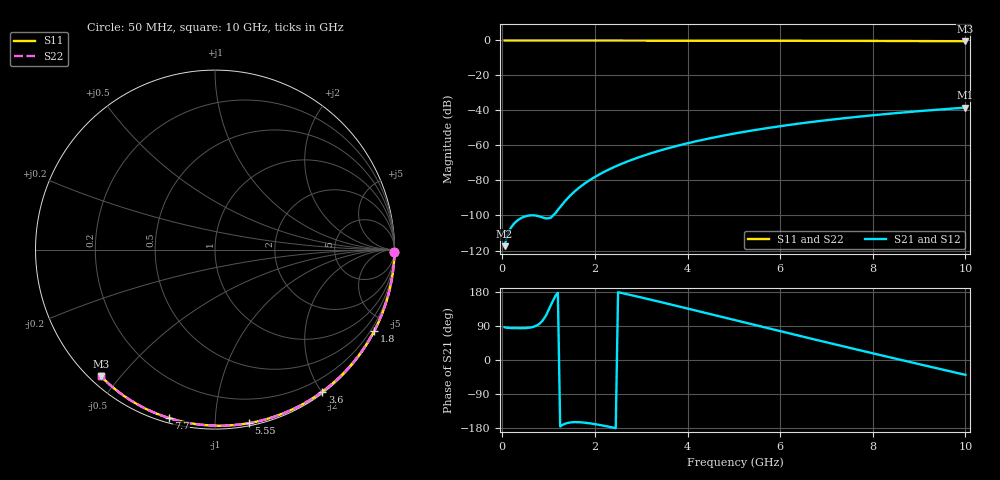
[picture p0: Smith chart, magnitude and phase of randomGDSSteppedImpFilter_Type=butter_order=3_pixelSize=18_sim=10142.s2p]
! freq	dB(S11)	phase(S11)	dB(S12)	phase(S12)
!  dB(S21)	phase(S21)	dB(S22)	phase(S22)
!S-par simulation data
#  GHz  S  DB  R 50
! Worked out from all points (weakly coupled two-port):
!   200 points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, 50 MHz to 10 GHz, reference 50 ohm
!   highest |S21| = -38.38 dB at 10 GHz (marker M1); lowest = -117.5 dB at 50 MHz (marker M2)
!   lowest |S11| = -0.4 dB at 10 GHz (marker M3), VSWR 38.94, Z = 1.54 - j22.3 ohm
!   |S11| at or under -10 dB: nowhere
!   |S22| runs from -0.4 to 0.0 dB; largest |S21 - S12| = 0
!   S11 on the Smith chart (normalised r, x): 50 MHz: open; 1.8 GHz: 0.04, -4.16; 3.6 GHz: 0.02, -2.01; 5.55 GHz: 0.02, -1.21; 7.7 GHz: 0.02, -0.76; 10 GHz: 0.03, -0.45
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0.05  -0.00 -0.8  -117.52 86.5  -117.52 86.5  -0.00 -0.8
0.9  -0.02 -13.6  -101.37 109.3  -101.37 109.3  -0.02 -13.6
1.75  -0.03 -26.3  -82.28 -165.1  -82.28 -165.1  -0.03 -26.3
1.8  -0.03 -27.0  -81.34 -165.7  -81.34 -165.7  -0.03 -27.0
1.85  -0.04 -27.8  -80.44 -166.5  -80.44 -166.5  -0.04 -27.8
1.9  -0.04 -28.5  -79.58 -167.3  -79.58 -167.3  -0.04 -28.5
2.05  -0.04 -30.7  -77.20 -170.2  -77.20 -170.2  -0.04 -30.7
2.25  -0.04 -33.6  -74.39 -174.8  -74.39 -174.8  -0.04 -33.6
2.45  -0.05 -36.5  -71.90 -179.8  -71.90 -179.8  -0.05 -36.5
2.65  -0.05 -39.4  -69.68 174.9  -69.68 174.9  -0.05 -39.4
3  -0.06 -44.4  -66.26 165.1  -66.26 165.1  -0.06 -44.4
3.4  -0.07 -50.1  -62.92 153.5  -62.92 153.5  -0.07 -50.1
3.6  -0.07 -52.9  -61.43 147.7  -61.43 147.7  -0.07 -52.9
4.3  -0.09 -62.5  -56.92 126.9  -56.92 126.9  -0.09 -62.5
5.05  -0.11 -72.5  -53.00 104.4  -53.00 104.4  -0.11 -72.5
5.55  -0.13 -79.0  -50.78 89.5  -50.78 89.5  -0.13 -79.0
6.1  -0.15 -85.9  -48.60 73.2  -48.60 73.2  -0.15 -86.0
6.7  -0.18 -93.4  -46.51 55.5  -46.51 55.5  -0.18 -93.4
7.7  -0.24 -105.4  -43.53 26.3  -43.53 26.3  -0.24 -105.4
8.35  -0.29 -113.1  -41.86 7.6  -41.86 7.6  -0.29 -113.1
9.15  -0.36 -122.3  -40.06 -15.2  -40.06 -15.2  -0.36 -122.3
10  -0.45 -131.9  -38.38 -39.2  -38.38 -39.2  -0.45 -132.0
